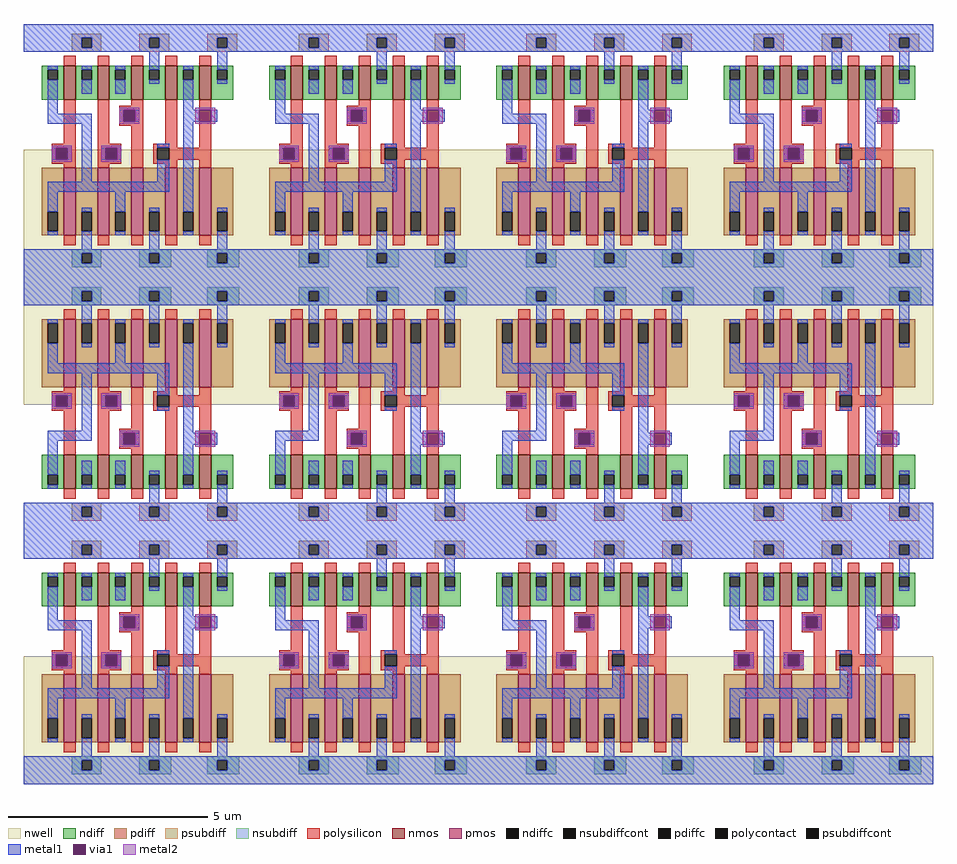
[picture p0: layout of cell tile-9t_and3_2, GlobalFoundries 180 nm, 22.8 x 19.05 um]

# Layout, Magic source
magic
tech gf180mcuD
use gf180mcu_osu_sc_gp9t3v3__and3_2  gf180mcu_osu_sc_gp9t3v3__and3_2_0
transform 1 0 18 0 1 0
box -18 0 96 127
use gf180mcu_osu_sc_gp9t3v3__and3_2  gf180mcu_osu_sc_gp9t3v3__and3_2_1
transform 1 0 132 0 1 0
box -18 0 96 127
use gf180mcu_osu_sc_gp9t3v3__and3_2  gf180mcu_osu_sc_gp9t3v3__and3_2_2
transform 1 0 18 0 -1 254
box -18 0 96 127
use gf180mcu_osu_sc_gp9t3v3__and3_2  gf180mcu_osu_sc_gp9t3v3__and3_2_3
transform 1 0 132 0 -1 254
box -18 0 96 127
use gf180mcu_osu_sc_gp9t3v3__and3_2  gf180mcu_osu_sc_gp9t3v3__and3_2_4
transform 1 0 246 0 -1 254
box -18 0 96 127
use gf180mcu_osu_sc_gp9t3v3__and3_2  gf180mcu_osu_sc_gp9t3v3__and3_2_5
transform 1 0 246 0 1 0
box -18 0 96 127
use gf180mcu_osu_sc_gp9t3v3__and3_2  gf180mcu_osu_sc_gp9t3v3__and3_2_6
transform 1 0 246 0 -1 0
box -18 0 96 127
use gf180mcu_osu_sc_gp9t3v3__and3_2  gf180mcu_osu_sc_gp9t3v3__and3_2_7
transform 1 0 132 0 -1 0
box -18 0 96 127
use gf180mcu_osu_sc_gp9t3v3__and3_2  gf180mcu_osu_sc_gp9t3v3__and3_2_8
transform 1 0 18 0 -1 0
box -18 0 96 127
use gf180mcu_osu_sc_gp9t3v3__and3_2  gf180mcu_osu_sc_gp9t3v3__and3_2_9
transform 1 0 -96 0 -1 254
box -18 0 96 127
use gf180mcu_osu_sc_gp9t3v3__and3_2  gf180mcu_osu_sc_gp9t3v3__and3_2_10
transform 1 0 -96 0 1 0
box -18 0 96 127
use gf180mcu_osu_sc_gp9t3v3__and3_2  gf180mcu_osu_sc_gp9t3v3__and3_2_11
transform 1 0 -96 0 -1 0
box -18 0 96 127
<< end >>

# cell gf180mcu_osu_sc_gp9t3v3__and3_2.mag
magic
tech gf180mcuD
<< nwell >>
rect -18 63 96 127
<< nmos >>
rect 2 21 8 38
rect 19 21 25 38
rect 36 21 42 38
rect 53 21 59 38
rect 70 21 76 38
<< pmos >>
rect 2 72 8 106
rect 19 72 25 106
rect 36 72 42 106
rect 53 72 59 106
rect 70 72 76 106
<< ndiff >>
rect -9 28 2 38
rect -9 23 -6 28
rect -1 23 2 28
rect -9 21 2 23
rect 8 28 19 38
rect 8 23 11 28
rect 16 23 19 28
rect 8 21 19 23
rect 25 28 36 38
rect 25 23 28 28
rect 33 23 36 28
rect 25 21 36 23
rect 42 28 53 38
rect 42 23 45 28
rect 50 23 53 28
rect 42 21 53 23
rect 59 28 70 38
rect 59 23 62 28
rect 67 23 70 28
rect 59 21 70 23
rect 76 28 87 38
rect 76 23 79 28
rect 84 23 87 28
rect 76 21 87 23
<< pdiff >>
rect -9 104 2 106
rect -9 94 -6 104
rect -1 94 2 104
rect -9 72 2 94
rect 8 104 19 106
rect 8 94 11 104
rect 16 94 19 104
rect 8 72 19 94
rect 25 104 36 106
rect 25 94 28 104
rect 33 94 36 104
rect 25 72 36 94
rect 42 104 53 106
rect 42 94 45 104
rect 50 94 53 104
rect 42 72 53 94
rect 59 104 70 106
rect 59 94 62 104
rect 67 94 70 104
rect 59 72 70 94
rect 76 104 87 106
rect 76 94 79 104
rect 84 94 87 104
rect 76 72 87 94
<< ndiffc >>
rect -6 23 -1 28
rect 11 23 16 28
rect 28 23 33 28
rect 45 23 50 28
rect 62 23 67 28
rect 79 23 84 28
<< pdiffc >>
rect -6 94 -1 104
rect 11 94 16 104
rect 28 94 33 104
rect 45 94 50 104
rect 62 94 67 104
rect 79 94 84 104
<< psubdiff >>
rect 6 12 21 14
rect 6 7 11 12
rect 16 7 21 12
rect 6 5 21 7
rect 40 12 55 14
rect 40 7 45 12
rect 50 7 55 12
rect 40 5 55 7
rect 74 12 89 14
rect 74 7 79 12
rect 84 7 89 12
rect 74 5 89 7
<< nsubdiff >>
rect 6 120 21 122
rect 6 115 11 120
rect 16 115 21 120
rect 6 113 21 115
rect 40 120 56 122
rect 40 115 45 120
rect 50 115 56 120
rect 40 113 56 115
rect 74 120 90 122
rect 74 115 79 120
rect 84 115 90 120
rect 74 113 90 115
<< psubdiffcont >>
rect 11 7 16 12
rect 45 7 50 12
rect 79 7 84 12
<< nsubdiffcont >>
rect 11 115 16 120
rect 45 115 50 120
rect 79 115 84 120
<< polysilicon >>
rect 2 106 8 111
rect 19 106 25 111
rect 36 106 42 111
rect 53 106 59 111
rect 70 106 76 111
rect 2 70 8 72
rect -4 68 8 70
rect -4 62 -2 68
rect 4 62 8 68
rect -4 60 8 62
rect 2 38 8 60
rect 19 70 25 72
rect 19 68 31 70
rect 19 62 23 68
rect 29 62 31 68
rect 19 60 31 62
rect 19 38 25 60
rect 36 51 42 72
rect 53 70 59 72
rect 47 68 59 70
rect 70 68 76 72
rect 47 62 49 68
rect 55 62 76 68
rect 47 60 59 62
rect 30 49 42 51
rect 30 43 32 49
rect 38 43 42 49
rect 30 41 42 43
rect 36 38 42 41
rect 53 38 59 60
rect 70 38 76 62
rect 2 16 8 21
rect 19 16 25 21
rect 36 16 42 21
rect 53 16 59 21
rect 70 16 76 21
<< polycontact >>
rect -2 62 4 68
rect 23 62 29 68
rect 49 62 55 68
rect 32 43 38 49
<< metal1 >>
rect -18 120 96 127
rect -18 115 11 120
rect 16 115 45 120
rect 50 115 79 120
rect 84 115 96 120
rect -18 113 96 115
rect -6 104 -1 106
rect -6 84 -1 94
rect 11 104 16 113
rect 11 92 16 94
rect 28 104 33 106
rect 28 84 33 94
rect 45 104 50 113
rect 45 92 50 94
rect 62 104 67 106
rect -6 79 55 84
rect -4 62 -2 68
rect 4 62 6 68
rect 11 50 16 79
rect 49 68 55 79
rect 21 62 23 68
rect 29 62 31 68
rect 49 60 55 62
rect -6 45 16 50
rect 62 49 67 94
rect 79 104 84 113
rect 79 92 84 94
rect -6 28 -1 45
rect 30 43 32 49
rect 38 43 40 49
rect 62 43 70 49
rect 76 43 79 49
rect -6 21 -1 23
rect 11 28 16 35
rect 11 21 16 23
rect 28 28 33 35
rect 28 21 33 23
rect 45 28 50 30
rect 45 14 50 23
rect 62 28 67 43
rect 62 21 67 23
rect 79 28 84 30
rect 79 14 84 23
rect -18 12 96 14
rect -18 7 11 12
rect 16 7 45 12
rect 50 7 79 12
rect 84 7 96 12
rect -18 0 96 7
<< via1 >>
rect -2 62 4 68
rect 23 62 29 68
rect 32 43 38 49
rect 70 43 76 49
<< metal2 >>
rect -4 68 6 69
rect -4 62 -2 68
rect 4 62 6 68
rect -4 61 6 62
rect 21 68 31 69
rect 21 62 23 68
rect 29 62 31 68
rect 21 61 31 62
rect 30 49 40 50
rect 30 43 32 49
rect 38 43 40 49
rect 30 42 40 43
rect 68 49 78 50
rect 68 43 70 49
rect 76 43 78 49
rect 68 42 78 43
<< labels >>
rlabel nsubdiffcont 13 117 13 117 1 VDD
rlabel psubdiffcont 13 10 13 10 1 VSS
flabel psubdiffcont 11 7 16 12 0 FreeSans 16 0 0 0 VSS
flabel nsubdiffcont 11 115 16 120 0 FreeSans 16 0 0 0 VDD
flabel via1 70 43 76 49 0 FreeSans 32 0 0 0 Y
rlabel nsubdiffcont 45 115 50 120 1 VDD
rlabel nsubdiffcont 79 115 84 120 1 VDD
rlabel psubdiffcont 45 7 50 12 1 VSS
rlabel psubdiffcont 79 7 84 12 1 VSS
flabel pdiffc -6 94 -1 104 0 FreeSans 16 0 0 0 net1
flabel ndiffc 11 23 16 28 0 FreeSans 16 0 0 0 net2
flabel ndiffc 28 23 33 28 0 FreeSans 16 0 0 0 net3
flabel metal2 -2 62 4 68 0 FreeSans 16 0 0 0 A
flabel metal2 23 62 29 68 0 FreeSans 16 0 0 0 B
flabel metal2 32 43 38 49 0 FreeSans 16 0 0 0 C
<< end >>
